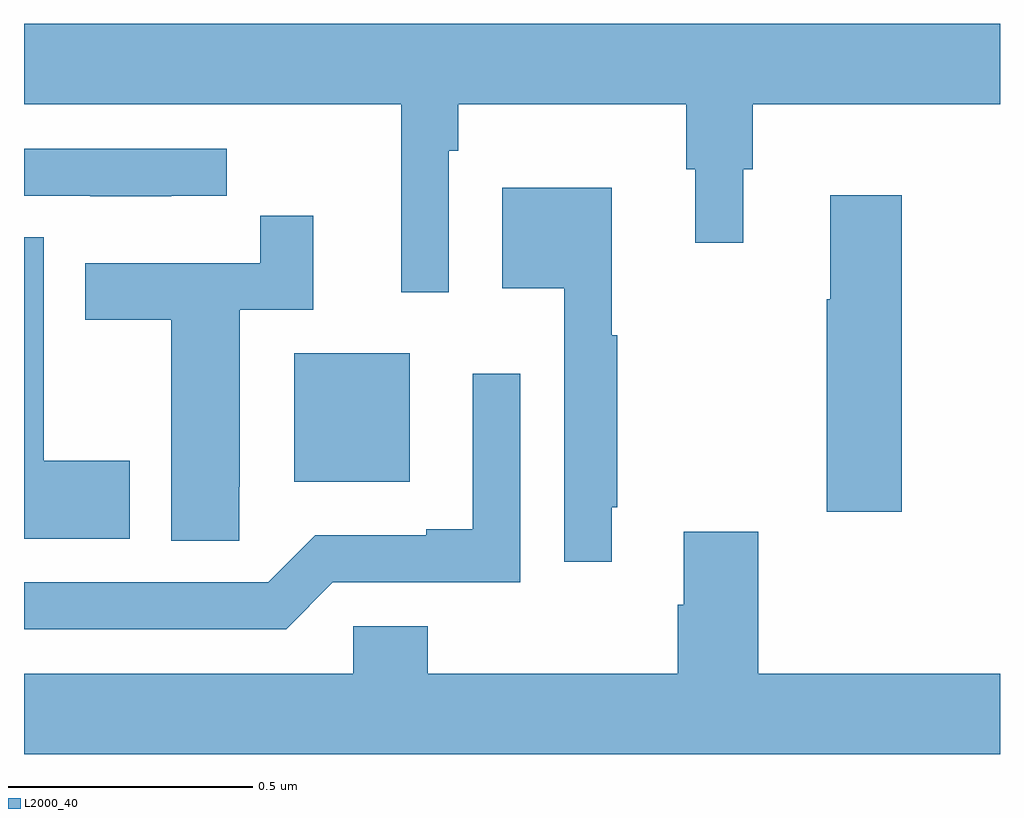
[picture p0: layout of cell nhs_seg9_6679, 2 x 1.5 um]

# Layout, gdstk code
import gdstk
lib = gdstk.Library(unit=1e-6, precision=1e-09)
def R(c, l, rs):  # rectangles x0, y0, x1, y1
    for r in rs: c.add(gdstk.rectangle(r[:2], r[2:], *l))
def P(c, l, *ps):  # polygons
    for p in ps: c.add(gdstk.Polygon(p, *l))
L2000_40 = (2000, 40)

nhs_seg9_6679 = lib.new_cell('nhs_seg9_6679')
R(nhs_seg9_6679, L2000_40, [(195.554,1186.322,195.79,1186.585)])
P(nhs_seg9_6679, L2000_40, [(195.87,1187),(195.89,1187),(195.89,1187.096),(196.357,1187.096),(196.357,1186.962),(196.376,1186.962),(196.376,1186.812),(196.474,1186.812),(196.474,1186.962),(196.493,1186.962),(196.493,1187.096),(197,1187.096),(197,1187.26),(195,1187.26),(195,1187.096),(195.773,1187.096),(195.773,1186.71),(195.87,1186.71)],
  [(195.302,1186.908),(195.415,1186.908),(195.415,1187.004),(195,1187.004),(195,1186.908),(195.136,1186.908),(195.136,1186.907),(195.302,1186.907)],
  [(196.204,1186.27),(196.216,1186.27),(196.216,1186.622),(196.204,1186.622),(196.204,1186.924),(195.98,1186.924),(195.98,1186.718),(196.107,1186.718),(196.107,1186.158),(196.204,1186.158)],
  [(196.799,1186.909),(196.652,1186.909),(196.652,1186.696),(196.645,1186.696),(196.645,1186.26),(196.799,1186.26)],
  [(195.441,1186.312),(195.442,1186.312),(195.442,1186.674),(195.593,1186.674),(195.593,1186.867),(195.484,1186.867),(195.484,1186.77),(195.125,1186.77),(195.125,1186.654),(195.302,1186.654),(195.302,1186.201),(195.441,1186.201)],
  [(195.217,1186.365),(195.04,1186.365),(195.04,1186.823),(195,1186.823),(195,1186.205),(195.217,1186.205)],
  [(195.633,1186.116),(196.017,1186.116),(196.017,1186.543),(195.92,1186.543),(195.92,1186.225),(195.824,1186.225),(195.824,1186.212),(195.597,1186.212),(195.501,1186.116),(195,1186.116),(195,1186.02),(195.537,1186.02)],
  [(197,1185.928),(196.505,1185.928),(196.505,1186.219),(196.352,1186.219),(196.352,1186.07),(196.34,1186.07),(196.34,1185.928),(195.827,1185.928),(195.827,1186.026),(195.675,1186.026),(195.675,1185.928),(195,1185.928),(195,1185.764),(197,1185.764)])

lib.write_gds('nhs_seg9_6679.gds')
